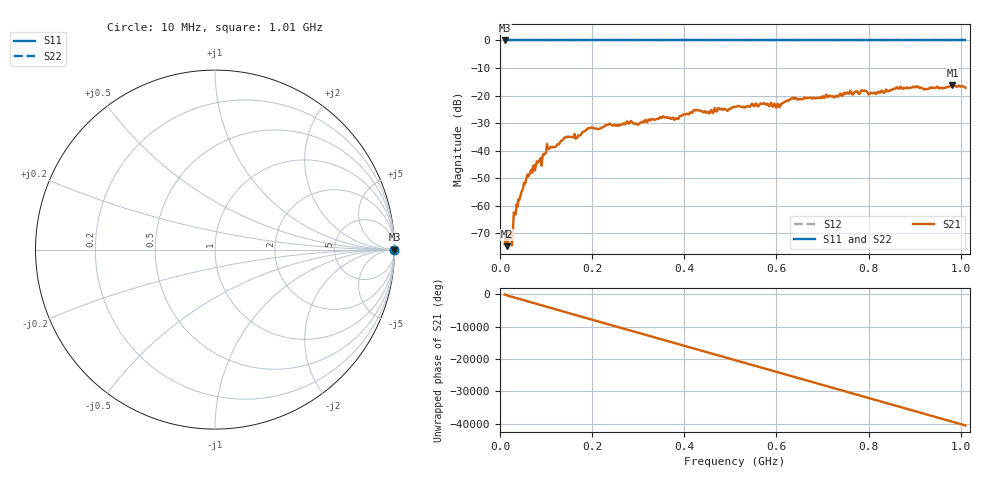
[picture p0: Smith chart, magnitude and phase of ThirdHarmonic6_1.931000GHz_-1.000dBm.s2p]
! 8/16/2025 11:16:32 PM
! C:\ANRITSUVNA\TEMP\TEMP.S2P
! CHANNEL.1
! TR.MEASUREMENT
! RAW.DATA
! RF.CORRECTION.OFF
! AVERAGING.OFF
! IF.BANDWIDTH: 5KHZ
! SWEEPTYPE:  FREQ.SWEEP(Linear)
! Reference Plane Port Info
! PORT:  PORT1  PORT2
! DISTANCE:  0  m  0  m
! TIME:  0  s  0  s
! PHASE.OFFSET:  0  deg.  0  deg.
! LOSS:  0  dB  0  dB
! REF.LOSS:  0  dB  0  dB
! REF.FREQ:  0  Hz  0  Hz
! Power Info
! POWER:  -20  dBm  -20  dBm
! EFF.POWER:  -20  dBm  -20  dBm
! SOURCE.ATTEN:  0  dB  0  dB
! TEST.ATTEN:  0  dB  0  dB
# GHZ S RI R 50.0
! FREQ.GHZ  S11RE  S11IM  S21RE  S21IM  S12RE  S12IM  S22RE  S22IM
!; PortSelection: Port_12
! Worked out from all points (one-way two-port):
!   501 points, 10 MHz to 1.01 GHz, reference 50 ohm
!   highest |S21| = -16.31 dB at 982 MHz (marker M1); lowest = -74.6 dB at 16 MHz (marker M2)
!   lowest |S11| = 0.0 dB at 10 MHz (marker M3)
!   |S11| at or under -10 dB: nowhere
!   |S22| runs from 0.0 to 0.0 dB; largest |S21 - S12| = 1.2
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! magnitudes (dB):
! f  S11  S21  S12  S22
! 10 MHz  0.0  -73.9  0.0  0.0
! 16 MHz  0.0  -74.6  0.0  0.0
! 24 MHz  0.0  -70.7  0.0  0.0
! 30 MHz  0.0  -62.4  0.0  0.0
! 34 MHz  0.0  -63.1  0.0  0.0
! 40 MHz  0.0  -57.6  0.0  0.0
! 56 MHz  0.0  -51.1  0.0  0.0
! 70 MHz  0.0  -48.0  0.0  0.0
! 106 MHz  0.0  -39.4  0.0  0.0
! 178 MHz  0.0  -33.4  0.0  0.0
! 196 MHz  0.0  -31.8  0.0  0.0
! 344 MHz  0.0  -28.5  0.0  0.0
! 382 MHz  0.0  -28.2  0.0  0.0
! 424 MHz  0.0  -25.3  0.0  0.0
! 452 MHz  0.0  -25.9  0.0  0.0
! 510 MHz  0.0  -24.1  0.0  0.0
! 602 MHz  0.0  -23.0  0.0  0.0
! 636 MHz  0.0  -20.8  0.0  0.0
! 678 MHz  0.0  -21.1  0.0  0.0
! 844 MHz  0.0  -18.3  0.0  0.0
! 982 MHz  0.0  -16.3  0.0  0.0
! 1.01 GHz  0.0  -17.2  0.0  0.0
